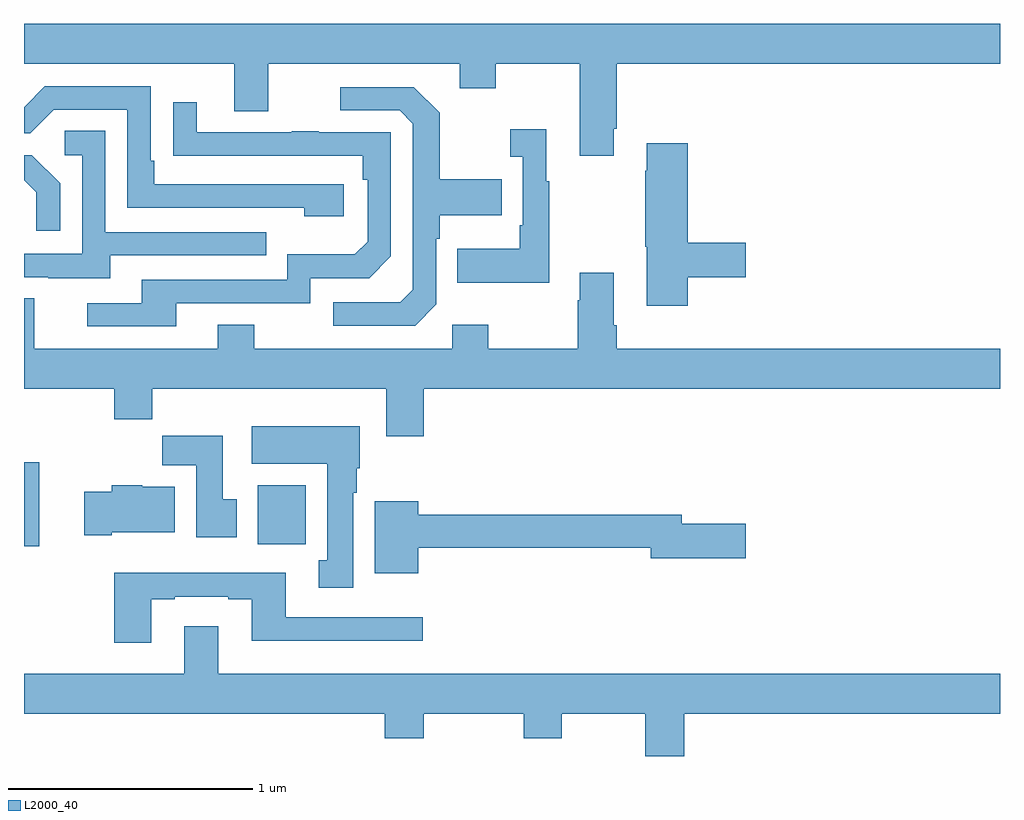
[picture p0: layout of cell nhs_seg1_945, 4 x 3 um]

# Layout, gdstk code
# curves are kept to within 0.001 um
import gdstk
lib = gdstk.Library(unit=1e-6, precision=1e-09)
def R(c, l, rs):  # rectangles x0, y0, x1, y1
    for r in rs: c.add(gdstk.rectangle(r[:2], r[2:], *l))
def P(c, l, *ps):  # polygons
    for p in ps: c.add(gdstk.Polygon(p, *l))
L2000_40 = (2000, 40)

nhs_seg1_945 = lib.new_cell('nhs_seg1_945')
R(nhs_seg1_945, L2000_40, [(161,579.059,161.062,579.403), (161.957,579.068,162.154,579.31)])
P(nhs_seg1_945, L2000_40, [(163.417,580.771),(163.43,580.771),(163.43,581.036),(165,581.036),(165,581.2),(161,581.2),(161,581.036),(161.861,581.036),(161.861,580.842),(162.001,580.842),(162.001,581.036),(162.785,581.036),(162.785,580.937),(162.933,580.937),(162.933,581.036),(163.277,581.036),(163.277,580.659),(163.417,580.659)],
  [(162.31,580.542),(161.533,580.542),(161.533,580.639),(161.52,580.639),(161.52,580.944),(161.085,580.944),(161,580.859),(161,580.752),(161.025,580.752),(161.121,580.848),(161.424,580.848),(161.424,580.446),(162.149,580.446),(162.149,580.412),(162.31,580.412)],
  [(162.69,580.05),(162.69,580.319),(162.703,580.319),(162.703,580.415),(162.959,580.415),(162.959,580.563),(162.703,580.563),(162.703,580.835),(162.597,580.941),(162.297,580.941),(162.297,580.845),(162.54,580.845),(162.594,580.791),(162.594,580.11),(162.543,580.059),(162.267,580.059),(162.267,579.963),(162.603,579.963)],
  [(161.623,580.056),(162.174,580.056),(162.174,580.158),(162.414,580.158),(162.504,580.248),(162.504,580.755),(162.209,580.755),(162.209,580.76),(162.097,580.76),(162.097,580.755),(161.707,580.755),(161.707,580.879),(161.611,580.879),(161.611,580.66),(162.388,580.659),(162.388,580.562),(162.408,580.562),(162.408,580.308),(162.355,580.255),(162.078,580.255),(162.078,580.152),(161.483,580.152),(161.483,580.056),(161.259,580.056),(161.259,579.96),(161.623,579.96)],
  [(163.153,580.555),(163.141,580.555),(163.141,580.768),(162.993,580.768),(162.993,580.655),(163.044,580.655),(163.044,580.375),(163.032,580.375),(163.032,580.279),(162.775,580.279),(162.775,580.139),(163.153,580.139)],
  [(161.353,580.251),(161.993,580.251),(161.993,580.347),(161.334,580.347),(161.334,580.763),(161.166,580.763),(161.166,580.662),(161.238,580.662),(161.238,580.257),(161,580.257),(161,580.161),(161.099,580.161),(161.099,580.157),(161.353,580.157)],
  [(163.721,580.162),(163.957,580.162),(163.957,580.304),(163.721,580.304),(163.721,580.711),(163.553,580.711),(163.553,580.598),(163.546,580.598),(163.546,580.287),(163.553,580.287),(163.553,580.044),(163.721,580.044)],
  [(161.148,580.546),(161.032,580.662),(161,580.662),(161,580.56),(161.051,580.509),(161.051,580.353),(161.148,580.353)],
  [(162.638,579.704),(165,579.704),(165,579.868),(163.43,579.868),(163.43,579.964),(163.417,579.964),(163.417,580.18),(163.277,580.18),(163.277,580.067),(163.27,580.067),(163.27,579.868),(162.903,579.868),(162.903,579.967),(162.756,579.967),(162.756,579.868),(161.943,579.868),(161.943,579.967),(161.795,579.967),(161.795,579.868),(161.041,579.868),(161.041,580.076),(161,580.076),(161,579.704),(161.369,579.704),(161.369,579.58),(161.525,579.58),(161.525,579.704),(162.485,579.704),(162.485,579.51),(162.638,579.51)],
  [(162.349,579.278),(162.364,579.278),(162.364,579.378),(162.376,579.378),(162.376,579.55),(161.933,579.55),(161.933,579.398),(162.242,579.398),(162.242,579.002),(162.209,579.002),(162.209,578.889),(162.349,578.889)],
  [(161.872,579.252),(161.815,579.252),(161.815,579.511),(161.566,579.511),(161.566,579.392),(161.705,579.392),(161.705,579.096),(161.872,579.096)],
  [(161.359,579.116),(161.617,579.116),(161.617,579.304),(161.484,579.304),(161.484,579.31),(161.359,579.31),(161.359,579.282),(161.247,579.282),(161.247,579.104),(161.359,579.104)],
  [(162.616,579.052),(163.568,579.052),(163.568,579.01),(163.957,579.01),(163.957,579.152),(163.696,579.152),(163.696,579.188),(162.616,579.188),(162.616,579.244),(162.437,579.244),(162.437,578.948),(162.616,578.948)],
  [(161.521,578.841),(161.617,578.841),(161.617,578.853),(161.837,578.853),(161.837,578.841),(161.933,578.841),(161.933,578.672),(162.634,578.672),(162.634,578.769),(162.073,578.769),(162.073,578.95),(161.369,578.95),(161.369,578.664),(161.521,578.664)],
  [(163.706,578.372),(165,578.372),(165,578.536),(161.797,578.536),(161.797,578.731),(161.657,578.731),(161.657,578.536),(161,578.536),(161,578.372),(162.479,578.372),(162.479,578.273),(162.639,578.273),(162.639,578.372),(163.048,578.372),(163.048,578.273),(163.203,578.273),(163.203,578.372),(163.546,578.372),(163.546,578.199),(163.706,578.199)])

lib.write_gds('nhs_seg1_945.gds')
